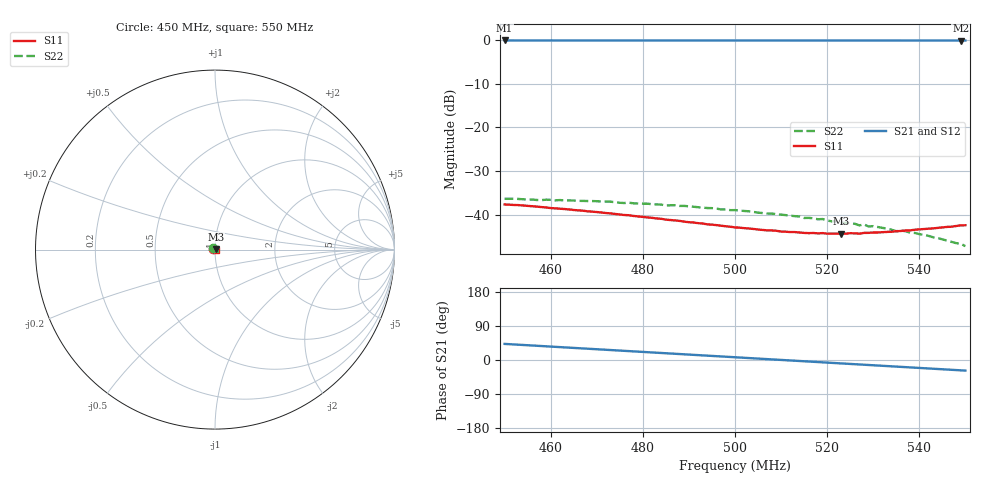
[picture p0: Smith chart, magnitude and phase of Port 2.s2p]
! RsaToolbox (C) 2014 Rohde & Schwarz America
! Number of points: 101
! Number of ports: 2
! Balanced ports?: No
# Hz S RI R 50
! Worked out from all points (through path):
!   101 points, 450 MHz to 550 MHz, reference 50 ohm
!   highest |S21| = -0.14 dB at 450 MHz (marker M1); lowest = -0.2 dB at 549 MHz (marker M2)
!   group delay of S21, straight-line fit = 1.96 ns
!   lowest |S11| = -44.4 dB at 523 MHz (marker M3), VSWR 1.01, Z = 50.5 + j0.282 ohm
!   |S11| at or under -10 dB: start of sweep to end of sweep
!   |S22| runs from -47.2 to -36.4 dB; largest |S21 - S12| = 0
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4.5e8  -0.0119 0.00532  0.7255 0.6643  0.7255 0.6643  -0.0127 0.0083
4.67e8  -0.00789 0.00776  0.8474 0.4991  0.8474 0.4991  -0.0103 0.00999
4.84e8  -0.00324 0.00834  0.9323 0.3123  0.9323 0.3123  -0.0075 0.0106
5e8  0.001 0.00706  0.9751 0.124  0.9751 0.124  -0.00509 0.01
5.1e8  0.00318 0.00555  0.9828 0.00343  0.9828 0.00343  -0.00355 0.00932
5.14e8  0.00396 0.00481  0.9817 -0.0449  0.9817 -0.0449  -0.00307 0.00898
5.15e8  0.00417 0.00455  0.9811 -0.057  0.9811 -0.057  -0.00281 0.0087
5.17e8  0.00451 0.00419  0.9793 -0.081  0.9793 -0.081  -0.00258 0.00867
5.18e8  0.00466 0.00391  0.9783 -0.0931  0.9783 -0.0931  -0.00254 0.00846
5.19e8  0.00483 0.00379  0.977 -0.1051  0.977 -0.1051  -0.00228 0.00859
5.23e8  0.00535 0.00279  0.9706 -0.153  0.9706 -0.153  -0.00183 0.00789
5.26e8  0.00571 0.00213  0.9643 -0.1887  0.9643 -0.1887  -0.00154 0.00769
5.27e8  0.00577 0.0018  0.9619 -0.2006  0.9619 -0.2006  -0.00148 0.00737
5.28e8  0.00593 0.00169  0.9593 -0.2124  0.9593 -0.2124  -0.00138 0.00759
5.29e8  0.00603 0.00133  0.9566 -0.2241  0.9566 -0.2241  -0.00119 0.0072
5.3e8  0.00613 0.00114  0.9538 -0.2359  0.9538 -0.2359  -0.00113 0.00728
5.34e8  0.00636 2.89e-05  0.941 -0.2825  0.941 -0.2825  -0.000854 0.00664
5.35e8  0.00643 -0.000265  0.9374 -0.294  0.9374 -0.294  -0.000601 0.00643
5.36e8  0.00647 -0.000422  0.9337 -0.3055  0.9337 -0.3055  -0.000665 0.00652
5.39e8  0.00659 -0.00122  0.9218 -0.3397  0.9218 -0.3397  -0.00036 0.00615
5.49e8  0.00638 -0.00398  0.873 -0.4501  0.873 -0.4501  3.8e-05 0.00463
5.5e8  0.00628 -0.00418  0.8674 -0.4609  0.8674 -0.4609  0.00019 0.00434
